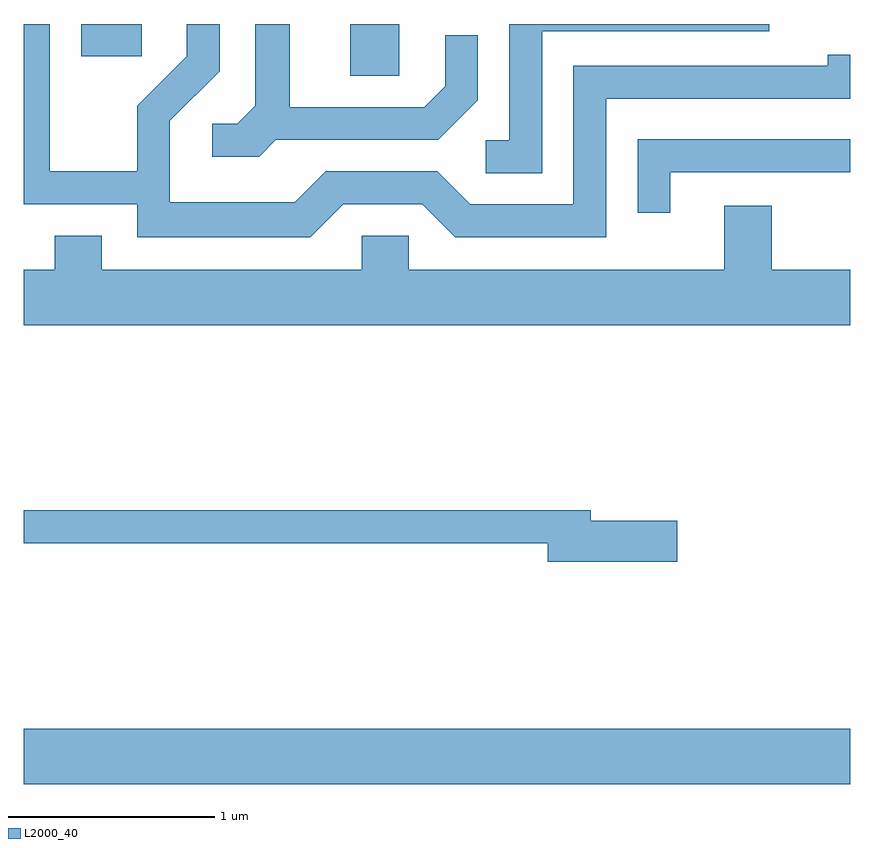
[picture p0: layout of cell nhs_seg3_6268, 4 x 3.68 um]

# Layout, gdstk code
import gdstk
lib = gdstk.Library(unit=1e-6, precision=1e-09)
def R(c, l, rs):  # rectangles x0, y0, x1, y1
    for r in rs: c.add(gdstk.rectangle(r[:2], r[2:], *l))
def P(c, l, *ps):  # polygons
    for p in ps: c.add(gdstk.Polygon(p, *l))
L2000_40 = (2000, 40)

nhs_seg3_6268 = lib.new_cell('nhs_seg3_6268')
R(nhs_seg3_6268, L2000_40, [(369.611,1148.216,373.611,1148.484), (371.191,1151.641,371.429,1151.892), (369.891,1151.736,370.184,1151.892)])
P(nhs_seg3_6268, L2000_40, [(371.157,1151.021),(371.539,1151.021),(371.699,1150.861),(372.429,1150.861),(372.429,1151.531),(373.611,1151.531),(373.611,1151.744),(373.501,1151.744),(373.501,1151.689),(372.271,1151.689),(372.271,1151.019),(371.772,1151.019),(371.612,1151.179),(371.074,1151.179),(370.924,1151.029),(370.319,1151.029),(370.319,1151.424),(370.559,1151.664),(370.559,1151.892),(370.401,1151.892),(370.401,1151.737),(370.161,1151.497),(370.161,1151.179),(369.739,1151.179),(369.739,1151.892),(369.611,1151.892),(369.611,1151.021),(370.161,1151.021),(370.161,1150.861),(370.997,1150.861)],
  [(372.119,1151.856),(373.218,1151.856),(373.218,1151.892),(371.961,1151.892),(371.961,1151.329),(371.848,1151.329),(371.848,1151.171),(372.119,1151.171)],
  [(370.832,1151.331),(371.617,1151.331),(371.809,1151.524),(371.809,1151.838),(371.651,1151.838),(371.651,1151.592),(371.549,1151.489),(370.899,1151.489),(370.899,1151.892),(370.731,1151.892),(370.731,1151.497),(370.644,1151.409),(370.523,1151.409),(370.523,1151.251),(370.752,1151.251)],
  [(372.739,1151.176),(373.611,1151.176),(373.611,1151.334),(372.581,1151.334),(372.581,1150.978),(372.739,1150.978)],
  [(373.611,1150.704),(373.229,1150.704),(373.229,1151.014),(373.001,1151.014),(373.001,1150.704),(371.474,1150.704),(371.474,1150.869),(371.246,1150.869),(371.246,1150.704),(369.989,1150.704),(369.989,1150.869),(369.761,1150.869),(369.761,1150.704),(369.611,1150.704),(369.611,1150.436),(373.611,1150.436)],
  [(372.774,1149.489),(372.354,1149.489),(372.354,1149.539),(369.611,1149.539),(369.611,1149.381),(372.146,1149.381),(372.146,1149.291),(372.774,1149.291)])

lib.write_gds('nhs_seg3_6268.gds')
